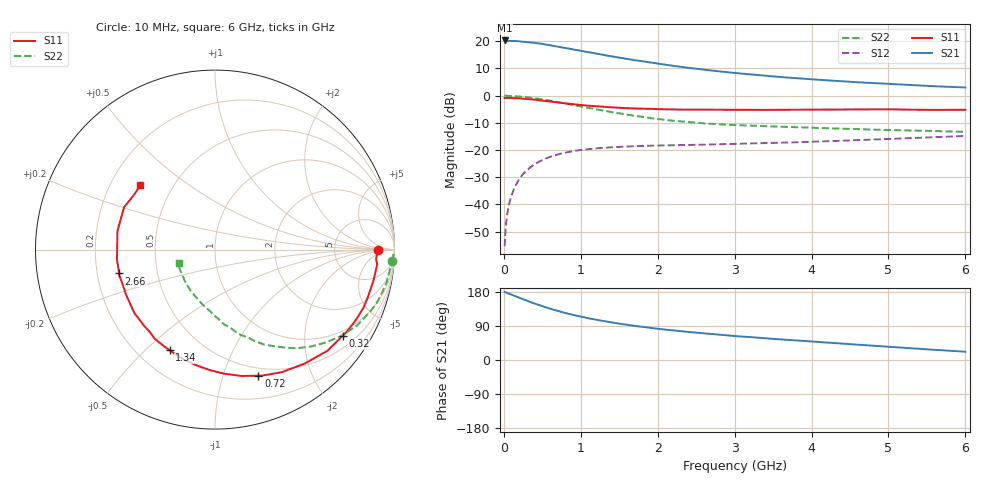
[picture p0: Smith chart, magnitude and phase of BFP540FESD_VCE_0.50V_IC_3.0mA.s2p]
! Infineon Technologies  Discrete & RF Semiconductors
! BFP540FESD
! VCE = 0.50 V,  IC =  3.0 mA
! Common Emitter S-Parameters:  Nov 2015
# GHz  S  MA  R  50
!  f  S11  S21  S12  S22
! GHz  MAG  ANG  MAG  ANG  MAG  ANG  MAG  ANG
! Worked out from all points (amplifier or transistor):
!   210 points, 10 MHz to 6 GHz, reference 50 ohm
!   highest |S21| = 20.3 dB at 10 MHz (marker M1)
!   |S21| within 3 dB of that: start of sweep to 847.4 MHz
!   unconditionally stable (mu >= 1): 3.125 GHz to end of sweep
!   at 185 MHz: K = 0.05, MSG = 25.7 dB, |S12| = -31.4 dB
!   at 1.52 GHz: K = 0.49, MSG = 16.3 dB, |S12| = -18.9 dB
!   at 6 GHz: K = 1.38, MAG = 5.2 dB, |S12| = -14.9 dB
!   S11 on the Smith chart (normalised r, x): 10 MHz: 20, -1; 320 MHz: 0.84, -3.06; 720 MHz: 0.42, -1.32; 1.34 GHz: 0.33, -0.59; 2.66 GHz: 0.29, -0.11; 6 GHz: 0.33, +0.34
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0.01  0.9059 -0.3  10.31 179.1  0.0017 91.1  0.9882 -3.6
0.02  0.8988 -3.4  10.07 178.7  0.003 83.2  0.9953 -1.6
0.04  0.9045 -4.6  10.09 177.2  0.006 85.9  0.9879 -3.0
0.09  0.9018 -9.4  10.09 173.1  0.0131 85.1  0.9802 -6.6
0.15  0.8927 -16.7  10.09 168.4  0.0218 80.2  0.9732 -10.9
0.2  0.8887 -21.3  9.934 164.1  0.0289 78.5  0.9608 -14.5
0.32  0.8584 -34.0  9.592 154.9  0.0447 71.1  0.9248 -22.8
0.4  0.8426 -42.0  9.311 148.9  0.0548 66.9  0.8973 -28.1
0.5  0.8084 -51.7  8.92 141.8  0.0654 61.9  0.8523 -34.4
0.6  0.7785 -61.2  8.405 135.3  0.0745 56.9  0.8061 -39.9
0.72  0.7428 -71.0  7.872 128.6  0.0839 51.7  0.7521 -46.0
0.9  0.6932 -85.7  7.066 118.9  0.095 45.3  0.6711 -54.5
1.02  0.6667 -94.0  6.571 113.7  0.1007 42.0  0.6239 -59.3
1.2  0.635 -106.5  5.883 106.2  0.1069 37.3  0.5593 -66.1
1.34  0.6148 -114.3  5.44 101.5  0.1106 34.6  0.5144 -70.6
1.62  0.5839 -129.4  4.658 92.4  0.1161 30.3  0.4408 -79.4
2.02  0.5613 -147.0  3.831 81.9  0.1206 26.2  0.3677 -90.5
2.66  0.5504 -166.0  2.927 69.3  0.1258 23.3  0.3042 -105.4
3.1  0.5472 -176.0  2.528 61.9  0.13 22.5  0.2832 -112.4
4.1  0.5522 167.7  1.947 47.4  0.1428 21.9  0.2535 -127.1
5.1  0.555 153.3  1.611 33.6  0.1613 20.1  0.2306 -142.4
6  0.5482 139.3  1.407 21.8  0.1808 17.6  0.2155 -159.8
